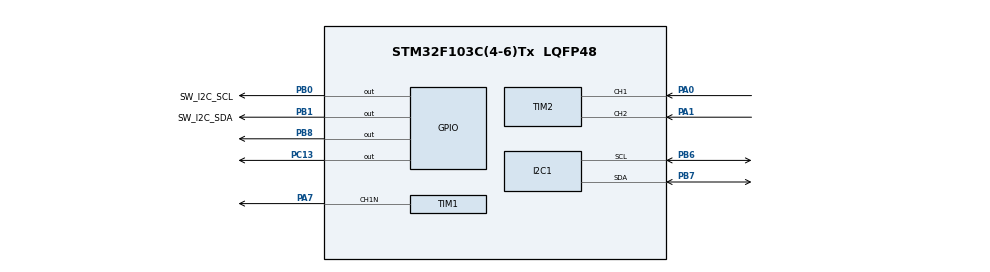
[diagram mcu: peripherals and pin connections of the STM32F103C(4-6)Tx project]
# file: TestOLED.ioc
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I2C1.I2C_Mode=I2C_Fast
Mcu.Family=STM32F1
Mcu.Name=STM32F103C(4-6)Tx
Mcu.Package=LQFP48
NVIC.PriorityGroup=NVIC_PRIORITYGROUP_4
PA0-WKUP.Signal=S_TIM2_CH1_ETR
PA1.Signal=S_TIM2_CH2
PA13.Mode=Serial_Wire
PA13.Signal=SYS_JTMS-SWDIO
PA14.Mode=Serial_Wire
PA14.Signal=SYS_JTCK-SWCLK
PA7.Mode=PWM Generation1 CH1N
PA7.Signal=TIM1_CH1N
PB0.GPIO_Label=SW_I2C_SCL
PB0.GPIO_ModeDefaultOutputPP=GPIO_MODE_OUTPUT_OD
PB0.GPIO_PuPd=GPIO_NOPULL
PB0.Signal=GPIO_Output
PB1.GPIO_Label=SW_I2C_SDA
PB1.GPIO_ModeDefaultOutputPP=GPIO_MODE_OUTPUT_OD
PB1.GPIO_PuPd=GPIO_PULLUP
PB1.Signal=GPIO_Output
PB6.Mode=I2C
PB6.Signal=I2C1_SCL
PB7.Mode=I2C
PB7.Signal=I2C1_SDA
PB8.GPIO_PuPd=GPIO_PULLUP
PB8.Signal=GPIO_Output
PC13-TAMPER-RTC.GPIO_PuPd=GPIO_PULLUP
PC13-TAMPER-RTC.PinState=GPIO_PIN_SET
PC13-TAMPER-RTC.Signal=GPIO_Output
PD0-OSC_IN.Mode=HSE-External-Clock-Source
PD0-OSC_IN.Signal=RCC_OSC_IN
PD1-OSC_OUT.Mode=HSE-External-Clock-Source
PD1-OSC_OUT.Signal=RCC_OSC_OUT
ProjectManager.HeapSize=0x200
ProjectManager.StackSize=0x400
ProjectManager.TargetToolchain=STM32CubeIDE
RCC.APB1Freq_Value=8000000
RCC.APB2Freq_Value=8000000
SH.S_TIM2_CH1_ETR.0=TIM2_CH1,Encoder_Interface
SH.S_TIM2_CH2.0=TIM2_CH2,Encoder_Interface
TIM1.AutoReloadPreload=TIM_AUTORELOAD_PRELOAD_ENABLE
TIM1.Channel-PWM\ Generation1\ CH1N=TIM_CHANNEL_1
TIM2.IC1Polarity=TIM_ICPOLARITY_FALLING
TIM2.IC2Polarity=TIM_ICPOLARITY_FALLING
board=custom

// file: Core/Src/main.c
/* USER CODE BEGIN Header */
/**
  ******************************************************************************
  * @file           : main.c
  * @brief          : Main program body
  ******************************************************************************
  * @attention
  *
  * Copyright (c) 2023 STMicroelectronics.
  * All rights reserved.
  *
  * This software is licensed under terms that can be found in the LICENSE file
  * in the root directory of this software component.
  * If no LICENSE file comes with this software, it is provided AS-IS.
  *
  ******************************************************************************
  */
/* USER CODE END Header */
#include "main.h"

/* USER CODE BEGIN Includes */

//#include "arm_common_tables.h"

#include "fonts.h"
#include "ssd1306.h"
#include "test.h"
#include "bitmap.h"
#include "stm32_sw_i2c.h"
#include "dwt_stm32_delay.h"
#include "mpu6050.h"
#include <stdlib.h>
/* USER CODE END Includes */

/* USER CODE BEGIN PTD */
char *dtostrf(double val, signed char width, unsigned char prec, char *sout);
void updatePWM_DutyCycle(int32_t pwm);
/* USER CODE END PTD */

I2C_HandleTypeDef hi2c1;

TIM_HandleTypeDef htim1;
TIM_HandleTypeDef htim2;

/* USER CODE BEGIN PV */
MPU6050_t MPU6050;
/* USER CODE END PV */

void SystemClock_Config(void);
static void MX_GPIO_Init(void);
static void MX_I2C1_Init(void);
static void MX_TIM2_Init(void);
static void MX_TIM1_Init(void);
/* USER CODE BEGIN PFP */

/*----------------  Variable Configuration ---------------------------------------*/
uint32_t counter = 0;
int16_t old_pos = 0;
uint32_t speed;
uint32_t speed_L;
uint32_t position;
double Speed_KP_x=50,Speed_KI_x=0.02,Speed_KD_x=0;
double Balance_KP_x=350,Balance_KI_x=0,Balance_KD_x=2;

static double Pwm_L, Integral_speed_L, Last_speed_L;
double Bias;
static double D_Bias,Integral_bias;
uint32_t balance;

/*----------------  Encoder setup ---------------------------------------*/
void HAL_TIM_IC_CaptureCallback(TIM_HandleTypeDef *htim)
{
	counter = __HAL_TIM_GET_COUNTER(htim);
	position = counter/4;
}

/* USER CODE END PFP */

/* USER CODE BEGIN 0 */
double KalmanAngleX = 0;
double Gx = 0;
/* USER CODE END 0 */

int main(void)
{
  /* USER CODE BEGIN 1 */
	double value = 123.456;
	int32_t CH1_DC = 0;
	//value = arm_sin_f32(value);
	//value = arm_sin_f32(value);
	char buffer[10];
	char angleX[10];
	dtostrf(value, 10, 3, buffer);
	//sprintf(buffer, "%f", value);
	//dtostrf	(value, 6, 2, buffer);
  /* USER CODE END 1 */

  /* MCU Configuration--------------------------------------------------------*/

  /* Reset of all peripherals, Initializes the Flash interface and the Systick. */
  HAL_Init();

  /* Configure the system clock */
  SystemClock_Config();

  /* Initialize all configured peripherals */
  MX_GPIO_Init();
  MX_I2C1_Init();
  MX_TIM2_Init();
  MX_TIM1_Init();
  /* USER CODE BEGIN 2 */
  //GPIOB->MODER |= (2<<16) | (2<<18);
  MPU6050_Init(&hi2c1);
  SSD1306_Init();  // initialise

  /*----------------  OLED setup ---------------------------------------*/

    SSD1306_GotoXY (0,0);
    SSD1306_Puts ("HELLO", &Font_11x18, 1);
    SSD1306_GotoXY (10, 30);
    SSD1306_Puts ("  WORLD :)", &Font_11x18, 1);
    SSD1306_UpdateScreen(); //display

    HAL_Delay (2000);
    SSD1306_GotoXY (0,0);
    SSD1306_Puts (buffer, &Font_11x18, 1);
    SSD1306_UpdateScreen(); //display

  /* USER CODE END 2 */

  /* Infinite loop */
  /* USER CODE BEGIN WHILE */
  while (1)
  {
	  /*----------------  Getting Data From MPU6050 ---------------------------------------*/
		MPU6050_Read_All(&hi2c1, &MPU6050);
		//MPU6050_Read_Gyro(&hi2c1, &MPU6050);
		KalmanAngleX = MPU6050.KalmanAngleX;
		dtostrf(KalmanAngleX, 10, 3, angleX);
		SSD1306_GotoXY (0,0);
		SSD1306_Puts (angleX, &Font_11x18, 1);
		Gx = MPU6050.Gx;
		dtostrf(Gx, 10, 3, angleX);
		SSD1306_GotoXY (10,30);
		SSD1306_Puts (angleX, &Font_11x18, 1);
		SSD1306_UpdateScreen(); //display
		/*---------------- Low-pass filter for encoder ---------------------------------------*/
		 speed_L *= 0.65;
		 speed_L += speed*0.35;
		 /*----------------  PID controller for Speed controller ---------------------------------------*/
		 Integral_speed_L+=speed_L;
		 if(Integral_speed_L>20000)Integral_speed_L=20000;
		 if(Integral_speed_L<-20000)Integral_speed_L=-20000;
		 Pwm_L=Speed_KP_x*speed_L+Speed_KI_x*Integral_speed_L+Speed_KD_x*(speed_L-Last_speed_L);
		 Last_speed_L=speed_L;

		 /*----------------  PID controller for balance ---------------------------------------*/

			 Bias=KalmanAngleX- 90.12;
			 Integral_bias+=Bias;
			 if(Integral_bias>30000)Integral_bias=30000;
			 if(Integral_bias<-30000)Integral_bias=-30000;
		   D_Bias=Gx ;
			 balance=Balance_KP_x*Bias+Balance_KI_x*Integral_bias+D_Bias*Balance_KD_x;

			 updatePWM_DutyCycle(Pwm_L+balance);

		  //MPU6050_Read_All(&hi2c1, &
    /* USER CODE END WHILE */

    /* USER CODE BEGIN 3 */
		HAL_GPIO_TogglePin(GPIOC, GPIO_PIN_13); // Toggle the LED

		HAL_Delay(1000); // Delay for 1 second
  }
  /* USER CODE END 3 */
}

void SystemClock_Config(void)
{
  RCC_OscInitTypeDef RCC_OscInitStruct = {0};
  RCC_ClkInitTypeDef RCC_ClkInitStruct = {0};

  /** Initializes the RCC Oscillators according to the specified parameters
  * in the RCC_OscInitTypeDef structure.
  */
  RCC_OscInitStruct.OscillatorType = RCC_OSCILLATORTYPE_HSI;
  RCC_OscInitStruct.HSIState = RCC_HSI_ON;
  RCC_OscInitStruct.HSICalibrationValue = RCC_HSICALIBRATION_DEFAULT;
  RCC_OscInitStruct.PLL.PLLState = RCC_PLL_NONE;
  if (HAL_RCC_OscConfig(&RCC_OscInitStruct) != HAL_OK)
  {
    Error_Handler();
  }

  /** Initializes the CPU, AHB and APB buses clocks
  */
  RCC_ClkInitStruct.ClockType = RCC_CLOCKTYPE_HCLK|RCC_CLOCKTYPE_SYSCLK
                              |RCC_CLOCKTYPE_PCLK1|RCC_CLOCKTYPE_PCLK2;
  RCC_ClkInitStruct.SYSCLKSource = RCC_SYSCLKSOURCE_HSI;
  RCC_ClkInitStruct.AHBCLKDivider = RCC_SYSCLK_DIV1;
  RCC_ClkInitStruct.APB1CLKDivider = RCC_HCLK_DIV1;
  RCC_ClkInitStruct.APB2CLKDivider = RCC_HCLK_DIV1;

  if (HAL_RCC_ClockConfig(&RCC_ClkInitStruct, FLASH_LATENCY_0) != HAL_OK)
  {
    Error_Handler();
  }
}

static void MX_I2C1_Init(void)
{

  /* USER CODE BEGIN I2C1_Init 0 */

	  //LL_I2C_InitTypeDef I2C_InitStruct = {0};

  /* USER CODE END I2C1_Init 0 */

  /* USER CODE BEGIN I2C1_Init 1 */

	  LL_GPIO_InitTypeDef GPIO_InitStruct = {0};

	  LL_APB2_GRP1_EnableClock(LL_APB2_GRP1_PERIPH_GPIOB);
	  /**I2C1 GPIO Configuration
	  PB6   ------> I2C1_SCL
	  PB7   ------> I2C1_SDA
	  */

	  GPIO_InitStruct.Pin = LL_GPIO_PIN_6|LL_GPIO_PIN_7;
	  GPIO_InitStruct.Mode = LL_GPIO_MODE_ALTERNATE;
	  GPIO_InitStruct.Speed = LL_GPIO_SPEED_FREQ_HIGH;
	  GPIO_InitStruct.OutputType = LL_GPIO_OUTPUT_OPENDRAIN;
	  GPIO_InitStruct.Pull       = LL_GPIO_PULL_UP;
	  LL_GPIO_Init(GPIOB, &GPIO_InitStruct);
	  //LL_GPIO_AF_EnableRemap_I2C1();
	  /* Peripheral clock enable */
	  LL_APB1_GRP1_EnableClock(LL_APB1_GRP1_PERIPH_I2C1);

  /* USER CODE END I2C1_Init 1 */
  hi2c1.Instance = I2C1;
  hi2c1.Init.ClockSpeed = 400000;
  hi2c1.Init.DutyCycle = I2C_DUTYCYCLE_2;
  hi2c1.Init.OwnAddress1 = 0;
  hi2c1.Init.AddressingMode = I2C_ADDRESSINGMODE_7BIT;
  hi2c1.Init.DualAddressMode = I2C_DUALADDRESS_DISABLE;
  hi2c1.Init.OwnAddress2 = 0;
  hi2c1.Init.GeneralCallMode = I2C_GENERALCALL_DISABLE;
  hi2c1.Init.NoStretchMode = I2C_NOSTRETCH_DISABLE;
  if (HAL_I2C_Init(&hi2c1) != HAL_OK)
  {
    Error_Handler();
  }

}

static void MX_TIM1_Init(void)
{

  TIM_MasterConfigTypeDef sMasterConfig = {0};
  TIM_OC_InitTypeDef sConfigOC = {0};
  TIM_BreakDeadTimeConfigTypeDef sBreakDeadTimeConfig = {0};

  htim1.Instance = TIM1;
  htim1.Init.Prescaler = 0;
  htim1.Init.CounterMode = TIM_COUNTERMODE_UP;
  htim1.Init.Period = 65535;
  htim1.Init.ClockDivision = TIM_CLOCKDIVISION_DIV1;
  htim1.Init.RepetitionCounter = 0;
  htim1.Init.AutoReloadPreload = TIM_AUTORELOAD_PRELOAD_ENABLE;
  if (HAL_TIM_PWM_Init(&htim1) != HAL_OK)
  {
    Error_Handler();
  }
  sMasterConfig.MasterOutputTrigger = TIM_TRGO_RESET;
  sMasterConfig.MasterSlaveMode = TIM_MASTERSLAVEMODE_DISABLE;
  if (HAL_TIMEx_MasterConfigSynchronization(&htim1, &sMasterConfig) != HAL_OK)
  {
    Error_Handler();
  }
  sConfigOC.OCMode = TIM_OCMODE_PWM1;
  sConfigOC.Pulse = 0;
  sConfigOC.OCPolarity = TIM_OCPOLARITY_HIGH;
  sConfigOC.OCNPolarity = TIM_OCNPOLARITY_HIGH;
  sConfigOC.OCFastMode = TIM_OCFAST_DISABLE;
  sConfigOC.OCIdleState = TIM_OCIDLESTATE_RESET;
  sConfigOC.OCNIdleState = TIM_OCNIDLESTATE_RESET;
  if (HAL_TIM_PWM_ConfigChannel(&htim1, &sConfigOC, TIM_CHANNEL_1) != HAL_OK)
  {
    Error_Handler();
  }
  sBreakDeadTimeConfig.OffStateRunMode = TIM_OSSR_DISABLE;
  sBreakDeadTimeConfig.OffStateIDLEMode = TIM_OSSI_DISABLE;
  sBreakDeadTimeConfig.LockLevel = TIM_LOCKLEVEL_OFF;
  sBreakDeadTimeConfig.DeadTime = 0;
  sBreakDeadTimeConfig.BreakState = TIM_BREAK_DISABLE;
  sBreakDeadTimeConfig.BreakPolarity = TIM_BREAKPOLARITY_HIGH;
  sBreakDeadTimeConfig.AutomaticOutput = TIM_AUTOMATICOUTPUT_DISABLE;
  if (HAL_TIMEx_ConfigBreakDeadTime(&htim1, &sBreakDeadTimeConfig) != HAL_OK)
  {
    Error_Handler();
  }
  HAL_TIM_MspPostInit(&htim1);

}

static void MX_TIM2_Init(void)
{

  TIM_Encoder_InitTypeDef sConfig = {0};
  TIM_MasterConfigTypeDef sMasterConfig = {0};

  htim2.Instance = TIM2;
  htim2.Init.Prescaler = 0;
  htim2.Init.CounterMode = TIM_COUNTERMODE_UP;
  htim2.Init.Period = 65535;
  htim2.Init.ClockDivision = TIM_CLOCKDIVISION_DIV1;
  htim2.Init.AutoReloadPreload = TIM_AUTORELOAD_PRELOAD_DISABLE;
  sConfig.EncoderMode = TIM_ENCODERMODE_TI1;
  sConfig.IC1Polarity = TIM_ICPOLARITY_FALLING;
  sConfig.IC1Selection = TIM_ICSELECTION_DIRECTTI;
  sConfig.IC1Prescaler = TIM_ICPSC_DIV1;
  sConfig.IC1Filter = 0;
  sConfig.IC2Polarity = TIM_ICPOLARITY_FALLING;
  sConfig.IC2Selection = TIM_ICSELECTION_DIRECTTI;
  sConfig.IC2Prescaler = TIM_ICPSC_DIV1;
  sConfig.IC2Filter = 0;
  if (HAL_TIM_Encoder_Init(&htim2, &sConfig) != HAL_OK)
  {
    Error_Handler();
  }
  sMasterConfig.MasterOutputTrigger = TIM_TRGO_RESET;
  sMasterConfig.MasterSlaveMode = TIM_MASTERSLAVEMODE_DISABLE;
  if (HAL_TIMEx_MasterConfigSynchronization(&htim2, &sMasterConfig) != HAL_OK)
  {
    Error_Handler();
  }

}

static void MX_GPIO_Init(void)
{
  LL_GPIO_InitTypeDef GPIO_InitStruct = {0};

  /* GPIO Ports Clock Enable */
  LL_APB2_GRP1_EnableClock(LL_APB2_GRP1_PERIPH_GPIOC);
  LL_APB2_GRP1_EnableClock(LL_APB2_GRP1_PERIPH_GPIOD);
  LL_APB2_GRP1_EnableClock(LL_APB2_GRP1_PERIPH_GPIOA);
  LL_APB2_GRP1_EnableClock(LL_APB2_GRP1_PERIPH_GPIOB);

  /**/
  LL_GPIO_SetOutputPin(GPIOC, LL_GPIO_PIN_13);

  /**/
  LL_GPIO_ResetOutputPin(GPIOB, SW_I2C_SCL_Pin|SW_I2C_SDA_Pin|LL_GPIO_PIN_8);

  /**/
  GPIO_InitStruct.Pin = LL_GPIO_PIN_13;
  GPIO_InitStruct.Mode = LL_GPIO_MODE_OUTPUT;
  GPIO_InitStruct.Speed = LL_GPIO_SPEED_FREQ_LOW;
  GPIO_InitStruct.OutputType = LL_GPIO_OUTPUT_PUSHPULL;
  GPIO_InitStruct.Pull = LL_GPIO_PULL_UP;
  LL_GPIO_Init(GPIOC, &GPIO_InitStruct);

  /**/
  GPIO_InitStruct.Pin = SW_I2C_SCL_Pin;
  GPIO_InitStruct.Mode = LL_GPIO_MODE_OUTPUT;
  GPIO_InitStruct.Speed = LL_GPIO_SPEED_FREQ_LOW;
  GPIO_InitStruct.OutputType = LL_GPIO_OUTPUT_OPENDRAIN;
  LL_GPIO_Init(SW_I2C_SCL_GPIO_Port, &GPIO_InitStruct);

  /**/
  GPIO_InitStruct.Pin = SW_I2C_SDA_Pin;
  GPIO_InitStruct.Mode = LL_GPIO_MODE_OUTPUT;
  GPIO_InitStruct.Speed = LL_GPIO_SPEED_FREQ_LOW;
  GPIO_InitStruct.OutputType = LL_GPIO_OUTPUT_OPENDRAIN;
  GPIO_InitStruct.Pull = LL_GPIO_PULL_UP;
  LL_GPIO_Init(SW_I2C_SDA_GPIO_Port, &GPIO_InitStruct);

  /**/
  GPIO_InitStruct.Pin = LL_GPIO_PIN_8;
  GPIO_InitStruct.Mode = LL_GPIO_MODE_OUTPUT;
  GPIO_InitStruct.Speed = LL_GPIO_SPEED_FREQ_LOW;
  GPIO_InitStruct.OutputType = LL_GPIO_OUTPUT_PUSHPULL;
  GPIO_InitStruct.Pull = LL_GPIO_PULL_UP;
  LL_GPIO_Init(GPIOB, &GPIO_InitStruct);

}

/* USER CODE BEGIN 4 */

char *dtostrf(double val, signed char width, unsigned char prec, char *sout)
{
  //Commented code is the original version
  /*char fmt[20];
  sprintf(fmt, "%%%d.%df", width, prec);
  sprintf(sout, fmt, val);
  return sout;*/

  // Handle negative numbers
  uint8_t negative = 0;
  if (val < 0.0) {
    negative = 1;
    val = -val;
  }

  // Round correctly so that print(1.999, 2) prints as "2.00"
  double rounding = 0.5;
  for (int i = 0; i < prec; ++i) {
    rounding /= 10.0;
  }

  val += rounding;

  // Extract the integer part of the number
  unsigned long int_part = (unsigned long)val;
  double remainder = val - (double)int_part;

  if (prec > 0) {
    // Extract digits from the remainder
    unsigned long dec_part = 0;
    double decade = 1.0;
    for (int i = 0; i < prec; i++) {
      decade *= 10.0;
    }
    remainder *= decade;
    dec_part = (int)remainder;

    if (negative) {
      sprintf(sout, "-%ld.%0*ld", int_part, prec, dec_part);
    } else {
      sprintf(sout, "%ld.%0*ld", int_part, prec, dec_part);
    }
  } else {
    if (negative) {
      sprintf(sout, "-%ld", int_part);
    } else {
      sprintf(sout, "%ld", int_part);
    }
  }
  // Handle minimum field width of the output string
  // width is signed value, negative for left adjustment.
  // Range -128,127
  char fmt[129] = "";
  unsigned int w = width;
  if (width < 0) {
    negative = 1;
    w = -width;
  } else {
    negative = 0;
  }

  if (strlen(sout) < w) {
    memset(fmt, ' ', 128);
    fmt[w - strlen(sout)] = '\0';
    if (negative == 0) {
      char *tmp = malloc(strlen(sout) + 1);
      strcpy(tmp, sout);
      strcpy(sout, fmt);
      strcat(sout, tmp);
      free(tmp);
    } else {
      // left adjustment
      strcat(sout, fmt);
    }
  }

  return sout;
}

void updatePWM_DutyCycle(int32_t pwm) {
	uint32_t dutyCycle;
	if (pwm>0){
		dutyCycle = pwm;

		 HAL_GPIO_WritePin(GPIOB, GPIO_PIN_8, GPIO_PIN_RESET);
	}
	else{
		dutyCycle = -pwm;
		HAL_GPIO_WritePin(GPIOB, GPIO_PIN_8, GPIO_PIN_SET);

	}
  TIM_OC_InitTypeDef sConfigOC;
  sConfigOC.OCMode = TIM_OCMODE_PWM1;
  sConfigOC.Pulse = dutyCycle; // Update the duty cycle value here
  sConfigOC.OCPolarity = TIM_OCPOLARITY_HIGH; // Change polarity if needed
  sConfigOC.OCFastMode = TIM_OCFAST_DISABLE;

  HAL_TIM_PWM_ConfigChannel(&htim2, &sConfigOC, TIM_CHANNEL_1); // Change to your timer and channel
  HAL_TIM_PWM_Start(&htim2, TIM_CHANNEL_1); // Change to your timer and channel

}
/* USER CODE END 4 */

void Error_Handler(void)
{
  __disable_irq();
  while (1)
  {
  }
}
